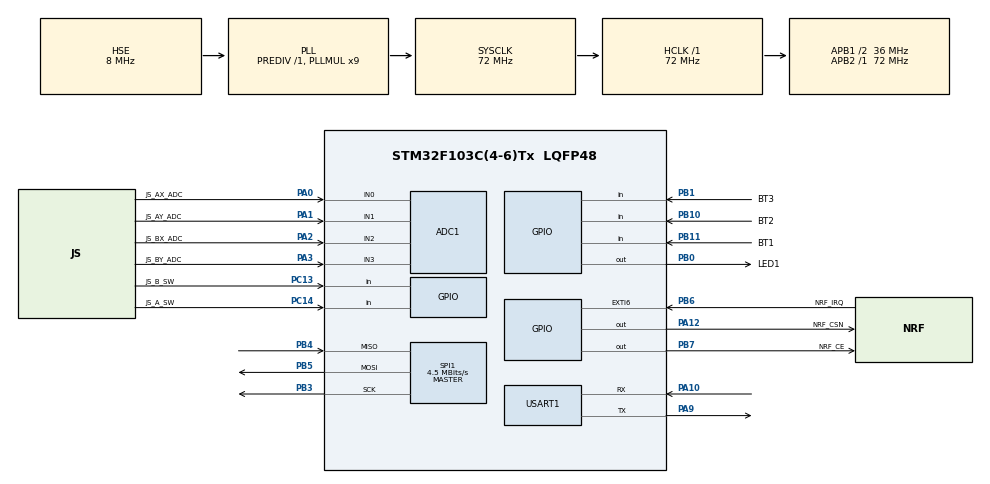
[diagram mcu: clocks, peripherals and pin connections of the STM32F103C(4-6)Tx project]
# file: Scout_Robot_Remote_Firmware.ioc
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ADC1.Channel-0\#ChannelRegularConversion=ADC_CHANNEL_3
ADC1.Channel-1\#ChannelRegularConversion=ADC_CHANNEL_2
ADC1.Channel-2\#ChannelRegularConversion=ADC_CHANNEL_1
ADC1.Channel-3\#ChannelRegularConversion=ADC_CHANNEL_0
ADC1.ContinuousConvMode=ENABLE
ADC1.NbrOfConversion=4
ADC1.NbrOfConversionFlag=1
ADC1.Rank-0\#ChannelRegularConversion=1
ADC1.Rank-1\#ChannelRegularConversion=2
ADC1.Rank-2\#ChannelRegularConversion=3
ADC1.Rank-3\#ChannelRegularConversion=4
ADC1.SamplingTime-0\#ChannelRegularConversion=ADC_SAMPLETIME_41CYCLES_5
ADC1.SamplingTime-1\#ChannelRegularConversion=ADC_SAMPLETIME_41CYCLES_5
ADC1.SamplingTime-2\#ChannelRegularConversion=ADC_SAMPLETIME_41CYCLES_5
ADC1.SamplingTime-3\#ChannelRegularConversion=ADC_SAMPLETIME_41CYCLES_5
ADC1.master=1
Dma.ADC1.0.Direction=DMA_PERIPH_TO_MEMORY
Dma.ADC1.0.Instance=DMA1_Channel1
Dma.ADC1.0.MemDataAlignment=DMA_MDATAALIGN_HALFWORD
Dma.ADC1.0.MemInc=DMA_MINC_ENABLE
Dma.ADC1.0.Mode=DMA_CIRCULAR
Dma.ADC1.0.PeriphDataAlignment=DMA_PDATAALIGN_HALFWORD
Dma.ADC1.0.PeriphInc=DMA_PINC_DISABLE
Dma.ADC1.0.Priority=DMA_PRIORITY_LOW
Dma.Request0=ADC1
Mcu.Family=STM32F1
Mcu.Name=STM32F103C(4-6)Tx
Mcu.Package=LQFP48
NVIC.DMA1_Channel1_IRQn=true\:0\:0\:false\:false\:true\:false\:true\:true
NVIC.PriorityGroup=NVIC_PRIORITYGROUP_4
NVIC.SPI1_IRQn=true\:0\:0\:false\:false\:true\:true\:true\:true
NVIC.TIM1_BRK_IRQn=true\:0\:0\:false\:false\:true\:true\:true\:true
NVIC.TIM1_CC_IRQn=true\:0\:0\:false\:false\:true\:true\:true\:true
NVIC.TIM1_TRG_COM_IRQn=true\:0\:0\:false\:false\:true\:true\:true\:true
NVIC.TIM1_UP_IRQn=true\:0\:0\:false\:false\:true\:true\:true\:true
NVIC.TIM2_IRQn=true\:0\:0\:false\:false\:true\:true\:true\:true
PA0-WKUP.GPIO_Label=JS_AX_ADC
PA0-WKUP.Signal=ADCx_IN0
PA1.GPIO_Label=JS_AY_ADC
PA1.Signal=ADCx_IN1
PA10.Mode=Asynchronous
PA10.Signal=USART1_RX
PA12.GPIO_Label=NRF_CSN
PA12.GPIO_PuPd=GPIO_PULLUP
PA12.GPIO_Speed=GPIO_SPEED_FREQ_HIGH
PA12.PinState=GPIO_PIN_SET
PA12.Signal=GPIO_Output
PA2.GPIO_Label=JS_BX_ADC
PA2.Signal=ADCx_IN2
PA3.GPIO_Label=JS_BY_ADC
PA3.Signal=ADCx_IN3
PA9.Mode=Asynchronous
PA9.Signal=USART1_TX
PB0.GPIO_Label=LED1
PB0.Signal=GPIO_Output
PB1.GPIO_Label=BT3
PB1.Signal=GPIO_Input
PB10.GPIO_Label=BT2
PB10.Signal=GPIO_Input
PB11.GPIO_Label=BT1
PB11.Signal=GPIO_Input
PB3.Mode=Full_Duplex_Master
PB3.Signal=SPI1_SCK
PB4.Mode=Full_Duplex_Master
PB4.Signal=SPI1_MISO
PB5.Mode=Full_Duplex_Master
PB5.Signal=SPI1_MOSI
PB6.GPIO_Label=NRF_IRQ
PB6.Signal=GPXTI6
PB7.GPIO_Label=NRF_CE
PB7.GPIO_PuPd=GPIO_PULLDOWN
PB7.GPIO_Speed=GPIO_SPEED_FREQ_HIGH
PB7.Signal=GPIO_Output
PC13-TAMPER-RTC.GPIO_Label=JS_B_SW
PC13-TAMPER-RTC.Signal=GPIO_Input
PC14-OSC32_IN.GPIO_Label=JS_A_SW
PC14-OSC32_IN.Signal=GPIO_Input
PD0-OSC_IN.Mode=HSE-External-Oscillator
PD0-OSC_IN.Signal=RCC_OSC_IN
PD1-OSC_OUT.Mode=HSE-External-Oscillator
PD1-OSC_OUT.Signal=RCC_OSC_OUT
ProjectManager.HeapSize=0x200
ProjectManager.StackSize=0x400
ProjectManager.TargetToolchain=STM32CubeIDE
RCC.ADCPresc=RCC_ADCPCLK2_DIV6
RCC.AHBFreq_Value=72000000
RCC.APB1CLKDivider=RCC_HCLK_DIV2
RCC.APB1Freq_Value=36000000
RCC.APB1TimFreq_Value=72000000
RCC.APB2Freq_Value=72000000
RCC.APB2TimFreq_Value=72000000
RCC.EnbaleCSS=true
RCC.HCLKFreq_Value=72000000
RCC.PLLMUL=RCC_PLL_MUL9
RCC.PLLSourceVirtual=RCC_PLLSOURCE_HSE
RCC.SYSCLKFreq_VALUE=72000000
RCC.SYSCLKSource=RCC_SYSCLKSOURCE_PLLCLK
RCC.USBFreq_Value=72000000
SH.ADCx_IN0.0=ADC1_IN0,IN0
SH.ADCx_IN1.0=ADC1_IN1,IN1
SH.ADCx_IN2.0=ADC1_IN2,IN2
SH.ADCx_IN3.0=ADC1_IN3,IN3
SPI1.BaudRatePrescaler=SPI_BAUDRATEPRESCALER_16
SPI1.CLKPhase=SPI_PHASE_1EDGE
SPI1.CLKPolarity=SPI_POLARITY_HIGH
SPI1.CalculateBaudRate=4.5 MBits/s
SPI1.Direction=SPI_DIRECTION_2LINES
SPI1.Mode=SPI_MODE_MASTER
SPI1.VirtualType=VM_MASTER
TIM1.Channel-Output\ Compare1\ No\ Output=TIM_CHANNEL_1
TIM1.Period=9999
TIM1.Prescaler=7199
TIM2.Channel-Output\ Compare1\ No\ Output=TIM_CHANNEL_1
TIM2.Period=99
TIM2.Prescaler=7199
USART1.VirtualMode=VM_ASYNC
VP_SYS_VS_ND.Mode=No_Debug
VP_TIM1_VS_no_output1.Mode=Output Compare1 No Output
VP_TIM2_VS_no_output1.Mode=Output Compare1 No Output
board=custom

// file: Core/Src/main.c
/* USER CODE BEGIN Header */
/**
  ******************************************************************************
  * @file           : main.c
  * @brief          : Main program body
  ******************************************************************************
  * @attention
  *
  * Copyright (c) 2023 STMicroelectronics.
  * All rights reserved.
  *
  * This software is licensed under terms that can be found in the LICENSE file
  * in the root directory of this software component.
  * If no LICENSE file comes with this software, it is provided AS-IS.
  *
  ******************************************************************************
  */
/* USER CODE END Header */
#include "main.h"
#include "adc.h"
#include "dma.h"
#include "spi.h"
#include "tim.h"
#include "usart.h"
#include "gpio.h"

/* USER CODE BEGIN Includes */
#include <stdio.h>
#include "Analog.h"
#include "NRF24L01.h"

/* USER CODE END Includes */

/* USER CODE BEGIN PTD */
#define lowByte(w) ((uint8_t) ((w) & 0xff))
#define highByte(w) ((uint8_t) ((w) >> 8))
/* USER CODE END PTD */

/* USER CODE BEGIN PV */
uint64_t ticks1;
uint64_t ticks2;
uint8_t flag_uart;
uint8_t flag_js;
uint16_t DMA[6];
struct Joystick Joystick_R;
struct Joystick Joystick_L;
int16_t frameBuffer[2];
uint8_t TxPipeAddress[] = {0xEE, 0xDD, 0xCC, 0xBB, 0xAA};
uint8_t testMessage[] = "Hello, world!";

/* USER CODE END PV */

void SystemClock_Config(void);

/* USER CODE BEGIN 0 */
int _write(int file, char* ptr, int len){
	HAL_UART_Transmit(&huart1, (uint8_t *) ptr, len, 50);
	return len;
}

void sendint16(int16_t* data){
	uint8_t charBuffer[4];
	//sprintf(charBuffer, "%d", data);
	charBuffer[0] = lowByte(data[0]);
	charBuffer[1] = highByte(data[0]);
	charBuffer[2] = lowByte(data[1]);
	charBuffer[3] = highByte(data[1]);

	HAL_UART_Transmit(&huart1, charBuffer , 4, 100);
	//printf(charBuffer);
}

/* USER CODE END 0 */

int main(void)
{

  /* MCU Configuration--------------------------------------------------------*/

  /* Reset of all peripherals, Initializes the Flash interface and the Systick. */
  HAL_Init();

  /* Configure the system clock */
  SystemClock_Config();

  /* Initialize all configured peripherals */
  MX_GPIO_Init();
  MX_DMA_Init();
  MX_ADC1_Init();
  MX_SPI1_Init();
  MX_TIM1_Init();
  MX_USART1_UART_Init();
  MX_TIM2_Init();
  /* USER CODE BEGIN 2 */
  ticks1 = 0;
  ticks2 = 0;
  flag_uart = 0;
  flag_js = 0;

  NRF_Init(&hspi1);
  NRF_SetTxMode(TxPipeAddress, 10);

  JS_Init(&Joystick_L, 2, 100, 100);
  JS_Init(&Joystick_R, 0, 100, 10);
  analogInit(&hadc1, DMA);
  HAL_TIM_Base_Start_IT(&htim1);
  HAL_TIM_Base_Start_IT(&htim2);
  JS_Calibrate(&Joystick_L, 0, 0, 4035, 1975);
  JS_Calibrate(&Joystick_L, 1, 0, 4037, 2035);
  JS_Calibrate(&Joystick_R, 0, 0, 4030, 1966);
  JS_Calibrate(&Joystick_R, 1, 0, 4039, 1945);
  /* USER CODE END 2 */

  /* Infinite loop */
  /* USER CODE BEGIN WHILE */
  while (1){
	  if(flag_js){
		  JS_Aquisite(&Joystick_R, DMA);
		  JS_Aquisite(&Joystick_L, DMA);
		  flag_js = 0;
	  }

	  if(flag_uart){
		  /*
		  frameBuffer[0] = Joystick_L.position[1];
		  frameBuffer[1] = Joystick_R.position[1];
		  sendint16(frameBuffer);

		  HAL_TIM_Base_Start_IT(&htim1);
		  */
		  //printf("%d, %d\r\n", Joystick_L.position[1], Joystick_R.position[1]);
		  if(NRF_Transmit(testMessage))
		  	  printf("message send successful\r\n");
		  else
			  printf("message send fail\r\n");
		  flag_uart = 0;
	  }

    /* USER CODE END WHILE */

  }
}

void SystemClock_Config(void)
{
  RCC_OscInitTypeDef RCC_OscInitStruct = {0};
  RCC_ClkInitTypeDef RCC_ClkInitStruct = {0};
  RCC_PeriphCLKInitTypeDef PeriphClkInit = {0};

  /** Initializes the RCC Oscillators according to the specified parameters
  * in the RCC_OscInitTypeDef structure.
  */
  RCC_OscInitStruct.OscillatorType = RCC_OSCILLATORTYPE_HSE;
  RCC_OscInitStruct.HSEState = RCC_HSE_ON;
  RCC_OscInitStruct.HSEPredivValue = RCC_HSE_PREDIV_DIV1;
  RCC_OscInitStruct.HSIState = RCC_HSI_ON;
  RCC_OscInitStruct.PLL.PLLState = RCC_PLL_ON;
  RCC_OscInitStruct.PLL.PLLSource = RCC_PLLSOURCE_HSE;
  RCC_OscInitStruct.PLL.PLLMUL = RCC_PLL_MUL9;
  if (HAL_RCC_OscConfig(&RCC_OscInitStruct) != HAL_OK)
  {
    Error_Handler();
  }

  /** Initializes the CPU, AHB and APB buses clocks
  */
  RCC_ClkInitStruct.ClockType = RCC_CLOCKTYPE_HCLK|RCC_CLOCKTYPE_SYSCLK
                              |RCC_CLOCKTYPE_PCLK1|RCC_CLOCKTYPE_PCLK2;
  RCC_ClkInitStruct.SYSCLKSource = RCC_SYSCLKSOURCE_PLLCLK;
  RCC_ClkInitStruct.AHBCLKDivider = RCC_SYSCLK_DIV1;
  RCC_ClkInitStruct.APB1CLKDivider = RCC_HCLK_DIV2;
  RCC_ClkInitStruct.APB2CLKDivider = RCC_HCLK_DIV1;

  if (HAL_RCC_ClockConfig(&RCC_ClkInitStruct, FLASH_LATENCY_2) != HAL_OK)
  {
    Error_Handler();
  }
  PeriphClkInit.PeriphClockSelection = RCC_PERIPHCLK_ADC;
  PeriphClkInit.AdcClockSelection = RCC_ADCPCLK2_DIV6;
  if (HAL_RCCEx_PeriphCLKConfig(&PeriphClkInit) != HAL_OK)
  {
    Error_Handler();
  }

  /** Enables the Clock Security System
  */
  HAL_RCC_EnableCSS();
}

/* USER CODE BEGIN 4 */
void HAL_TIM_PeriodElapsedCallback(TIM_HandleTypeDef  *htim){
	if(htim == &htim1){
		//HAL_GPIO_TogglePin(LED_2_GPIO_Port, LED_2_Pin);
		flag_uart = 1;
	}

	if(htim == &htim2){
		//HAL_GPIO_TogglePin(LED_2_GPIO_Port, LED_2_Pin);
		flag_js = 1;
	}
}
/* USER CODE END 4 */

void Error_Handler(void)
{
  __disable_irq();
  while (1)
  {
  }
}
